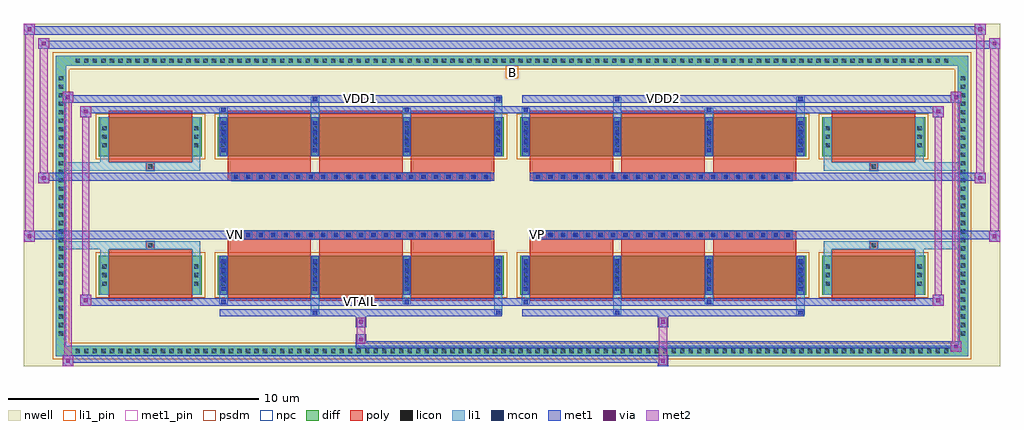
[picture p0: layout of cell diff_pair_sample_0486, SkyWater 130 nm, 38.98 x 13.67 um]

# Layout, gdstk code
import gdstk
lib = gdstk.Library(unit=1e-6, precision=5e-09)
def R(c, l, rs):  # rectangles x0, y0, x1, y1
    for r in rs: c.add(gdstk.rectangle(r[:2], r[2:], *l))
def A(c, l, x, y, w, h, nx, ny, dx, dy):  # array of equal rectangles
    R(c, l, [(x+i*dx, y+j*dy, x+i*dx+w, y+j*dy+h) for i in range(nx) for j in range(ny)])
def P(c, l, *ps):  # polygons
    for p in ps: c.add(gdstk.Polygon(p, *l))
nwell = (64, 20)
diff = (65, 20)
poly = (66, 20)
licon = (66, 44)
li1_pin = (67, 16)
li1 = (67, 20)
mcon = (67, 44)
met1_pin = (68, 16)
met1 = (68, 20)
via = (68, 44)
met2 = (69, 20)
psdm = (94, 20)
npc = (95, 20)

diff_pair_sample_0486 = lib.new_cell('diff_pair_sample_0486')
R(diff_pair_sample_0486, nwell, [(-19.49,-6.4,19.49,7.27), (-16.81,-4.59,-0.01,-0.795), (0.01,-4.59,16.81,-0.795), (-16.81,0.795,-0.01,4.59), (0.01,0.795,16.81,4.59)])
A(diff_pair_sample_0486, diff, -17.545, -6, 0.41, 0.41, 103, 2, 0.34, 11.59)
A(diff_pair_sample_0486, diff, -18.22, -5.305, 0.41, 0.41, 1, 31, 0, 0.34)
A(diff_pair_sample_0486, diff, 17.81, -5.305, 0.41, 0.41, 1, 31, 0, 0.34)
R(diff_pair_sample_0486, diff, [(-17.545,-6,17.545,-5.59), (-18.22,-5.305,-17.81,5.305), (17.81,-5.305,18.22,5.305), (-16.5,-3.545,-12.39,-1.985), (-11.75,-3.545,-0.32,-1.985), (0.32,-3.545,11.75,-1.985), (12.39,-3.545,16.5,-1.985), (-16.5,1.985,-12.39,3.545), (-11.75,1.985,-0.32,3.545), (0.32,1.985,11.75,3.545), (12.39,1.985,16.5,3.545), (-17.545,5.59,17.545,6)])
P(diff_pair_sample_0486, diff, [(18.22,6),(-18.22,6),(-18.22,-5.59),(-17.81,-5.59),(-17.81,5.59),(17.81,5.59),(17.81,-5.59),(-17.81,-5.59),(-18.22,-5.59),(-18.22,-6),(18.22,-6)])
A(diff_pair_sample_0486, poly, -11.36, -3.795, 3.33, 2.06, 3, 2, 3.66, 5.53)
A(diff_pair_sample_0486, poly, 0.71, -3.795, 3.33, 2.06, 3, 2, 3.66, 5.53)
A(diff_pair_sample_0486, poly, -11.36, -1.735, 3.33, 0.41, 3, 2, 3.66, 3.06)
A(diff_pair_sample_0486, poly, 0.71, -1.735, 3.33, 0.41, 3, 2, 3.66, 3.06)
A(diff_pair_sample_0486, poly, -11.2, -1.325, 0.33, 0.33, 21, 2, 0.5, 2.32)
A(diff_pair_sample_0486, poly, 0.87, -1.325, 0.33, 0.33, 21, 2, 0.5, 2.32)
R(diff_pair_sample_0486, poly, [(-16.11,-3.795,-12.78,-1.735), (12.78,-3.795,16.11,-1.735), (-14.61,-1.735,-14.28,-1.405), (-14.61,-1.735,-14.28,-1.405), (14.28,-1.735,14.61,-1.405), (14.28,-1.735,14.61,-1.405), (-11.36,-1.325,-0.71,-0.995), (0.71,-1.325,11.36,-0.995), (-11.36,0.995,-0.71,1.325), (0.71,0.995,11.36,1.325), (-14.61,1.405,-14.28,1.735), (-14.61,1.405,-14.28,1.735), (14.28,1.405,14.61,1.735), (14.28,1.405,14.61,1.735), (-16.11,1.735,-12.78,3.795), (12.78,1.735,16.11,3.795)])
A(diff_pair_sample_0486, licon, -17.425, -5.88, 0.17, 0.17, 103, 2, 0.34, 11.59)
A(diff_pair_sample_0486, licon, -18.1, -5.185, 0.17, 0.17, 1, 31, 0, 0.34)
A(diff_pair_sample_0486, licon, 17.93, -5.185, 0.17, 0.17, 1, 31, 0, 0.34)
A(diff_pair_sample_0486, licon, -16.36, -3.19, 0.17, 0.17, 1, 3, 0, 0.34)
A(diff_pair_sample_0486, licon, -12.7, -3.19, 0.17, 0.17, 1, 3, 0, 0.34)
A(diff_pair_sample_0486, licon, -11.61, -3.19, 0.17, 0.17, 4, 3, 3.66, 0.34)
A(diff_pair_sample_0486, licon, 0.46, -3.19, 0.17, 0.17, 4, 3, 3.66, 0.34)
A(diff_pair_sample_0486, licon, 12.53, -3.19, 0.17, 0.17, 1, 3, 0, 0.34)
A(diff_pair_sample_0486, licon, 16.19, -3.19, 0.17, 0.17, 1, 3, 0, 0.34)
A(diff_pair_sample_0486, licon, -11.12, -1.245, 0.17, 0.17, 21, 2, 0.5, 2.32)
A(diff_pair_sample_0486, licon, 0.95, -1.245, 0.17, 0.17, 21, 2, 0.5, 2.32)
A(diff_pair_sample_0486, licon, -16.36, 2.34, 0.17, 0.17, 1, 3, 0, 0.34)
A(diff_pair_sample_0486, licon, -12.7, 2.34, 0.17, 0.17, 1, 3, 0, 0.34)
A(diff_pair_sample_0486, licon, -11.61, 2.34, 0.17, 0.17, 4, 3, 3.66, 0.34)
A(diff_pair_sample_0486, licon, 0.46, 2.34, 0.17, 0.17, 4, 3, 3.66, 0.34)
A(diff_pair_sample_0486, licon, 12.53, 2.34, 0.17, 0.17, 1, 3, 0, 0.34)
A(diff_pair_sample_0486, licon, 16.19, 2.34, 0.17, 0.17, 1, 3, 0, 0.34)
R(diff_pair_sample_0486, licon, [(-14.53,-1.655,-14.36,-1.485), (14.36,-1.655,14.53,-1.485), (-14.53,1.485,-14.36,1.655), (14.36,1.485,14.53,1.655)])
R(diff_pair_sample_0486, li1_pin, [(-0.25,5.09,0.25,5.59)])
A(diff_pair_sample_0486, li1, -17.505, -5.96, 0.33, 0.33, 103, 2, 0.34, 11.59)
A(diff_pair_sample_0486, li1, -18.18, -5.265, 0.33, 0.33, 1, 31, 0, 0.34)
A(diff_pair_sample_0486, li1, 17.85, -5.265, 0.33, 0.33, 1, 31, 0, 0.34)
A(diff_pair_sample_0486, li1, -11.69, -3.545, 0.33, 1.56, 4, 2, 3.66, 5.53)
A(diff_pair_sample_0486, li1, 0.38, -3.545, 0.33, 1.56, 4, 2, 3.66, 5.53)
A(diff_pair_sample_0486, li1, -11.61, -3.39, 0.17, 0.17, 4, 4, 3.66, 0.36)
A(diff_pair_sample_0486, li1, -11.61, -3.39, 0.17, 1.25, 4, 2, 3.66, 5.53)
A(diff_pair_sample_0486, li1, 0.46, -3.39, 0.17, 0.17, 4, 4, 3.66, 0.36)
A(diff_pair_sample_0486, li1, 0.46, -3.39, 0.17, 1.25, 4, 2, 3.66, 5.53)
A(diff_pair_sample_0486, li1, -16.44, -3.27, 0.33, 0.33, 1, 3, 0, 0.34)
A(diff_pair_sample_0486, li1, -12.78, -3.27, 0.33, 0.33, 1, 3, 0, 0.34)
A(diff_pair_sample_0486, li1, -11.69, -3.27, 0.33, 0.33, 4, 3, 3.66, 0.34)
A(diff_pair_sample_0486, li1, 0.38, -3.27, 0.33, 0.33, 4, 3, 3.66, 0.34)
A(diff_pair_sample_0486, li1, 12.45, -3.27, 0.33, 0.33, 1, 3, 0, 0.34)
A(diff_pair_sample_0486, li1, 16.11, -3.27, 0.33, 0.33, 1, 3, 0, 0.34)
A(diff_pair_sample_0486, li1, -11.2, -1.325, 0.33, 0.33, 21, 2, 0.5, 2.32)
A(diff_pair_sample_0486, li1, 0.87, -1.325, 0.33, 0.33, 21, 2, 0.5, 2.32)
A(diff_pair_sample_0486, li1, -11.61, 2.14, 0.17, 0.17, 4, 4, 3.66, 0.36)
A(diff_pair_sample_0486, li1, 0.46, 2.14, 0.17, 0.17, 4, 4, 3.66, 0.36)
A(diff_pair_sample_0486, li1, -16.44, 2.26, 0.33, 0.33, 1, 3, 0, 0.34)
A(diff_pair_sample_0486, li1, -12.78, 2.26, 0.33, 0.33, 1, 3, 0, 0.34)
A(diff_pair_sample_0486, li1, -11.69, 2.26, 0.33, 0.33, 4, 3, 3.66, 0.34)
A(diff_pair_sample_0486, li1, 0.38, 2.26, 0.33, 0.33, 4, 3, 3.66, 0.34)
A(diff_pair_sample_0486, li1, 12.45, 2.26, 0.33, 0.33, 1, 3, 0, 0.34)
A(diff_pair_sample_0486, li1, 16.11, 2.26, 0.33, 0.33, 1, 3, 0, 0.34)
R(diff_pair_sample_0486, li1, [(-18.22,-6,-17.81,-5.59), (-18.22,-6,-17.81,-5.59), (-17.81,-6,17.81,-5.59), (17.81,-6,18.22,-5.59), (17.81,-6,18.22,-5.59), (-18.22,-5.59,-17.81,5.59), (17.81,-5.59,18.22,5.59), (-8.03,-4.35,-7.7,-3.545), (-7.95,-4.35,-7.78,-4.18), (-0.71,-4.35,-0.38,-3.545), (-0.63,-4.35,-0.46,-4.18), (4.04,-4.35,4.37,-3.545), (4.12,-4.35,4.29,-4.18), (11.36,-4.35,11.69,-3.545), (11.44,-4.35,11.61,-4.18), (-11.69,-3.92,-11.36,-3.545), (-11.61,-3.92,-11.44,-3.75), (-4.37,-3.92,-4.04,-3.545), (-4.29,-3.92,-4.12,-3.75), (0.38,-3.92,0.71,-3.545), (0.46,-3.92,0.63,-3.75), (7.7,-3.92,8.03,-3.545), (7.78,-3.92,7.95,-3.75), (-16.44,-3.545,-16.11,-1.985), (-12.78,-3.545,-12.45,-1.985), (12.45,-3.545,12.78,-1.985), (16.11,-3.545,16.44,-1.985), (-16.44,-1.985,-16.11,-1.405), (-12.78,-1.985,-12.45,-1.405), (12.45,-1.985,12.78,-1.405), (16.11,-1.985,16.44,-1.405), (-18.22,-1.735,-14.61,-1.405), (-16.44,-1.735,-14.61,-1.405), (-14.61,-1.735,-14.28,-1.405), (-14.28,-1.735,-12.45,-1.405), (12.45,-1.735,14.28,-1.405), (14.28,-1.735,14.61,-1.405), (14.28,-1.735,18.22,-1.405), (14.61,-1.735,16.44,-1.405), (-18.22,1.405,-14.61,1.735), (-16.44,1.405,-14.61,1.735), (-16.44,1.405,-16.11,1.985), (-14.61,1.405,-14.28,1.735), (-14.28,1.405,-12.45,1.735), (-12.78,1.405,-12.45,1.985), (12.45,1.405,14.28,1.735), (12.45,1.405,12.78,1.985), (14.28,1.405,14.61,1.735), (14.28,1.405,18.22,1.735), (14.61,1.405,16.44,1.735), (16.11,1.405,16.44,1.985), (-16.44,1.985,-16.11,3.545), (-12.78,1.985,-12.45,3.545), (12.45,1.985,12.78,3.545), (16.11,1.985,16.44,3.545), (-11.69,3.545,-11.36,3.92), (-8.03,3.545,-7.7,4.35), (-4.37,3.545,-4.04,3.92), (-0.71,3.545,-0.38,4.35), (0.38,3.545,0.71,3.92), (4.04,3.545,4.37,4.35), (7.7,3.545,8.03,3.92), (11.36,3.545,11.69,4.35), (-11.61,3.75,-11.44,3.92), (-4.29,3.75,-4.12,3.92), (0.46,3.75,0.63,3.92), (7.78,3.75,7.95,3.92), (-7.95,4.18,-7.78,4.35), (-0.63,4.18,-0.46,4.35), (4.12,4.18,4.29,4.35), (11.44,4.18,11.61,4.35), (-18.22,5.59,-17.81,6), (-18.22,5.59,-17.81,6), (-17.81,5.59,17.81,6), (17.81,5.59,18.22,6), (17.81,5.59,18.22,6)])
A(diff_pair_sample_0486, mcon, -11.61, -3.39, 0.17, 0.17, 4, 4, 3.66, 0.36)
A(diff_pair_sample_0486, mcon, 0.46, -3.39, 0.17, 0.17, 4, 4, 3.66, 0.36)
A(diff_pair_sample_0486, mcon, -11.12, -1.245, 0.17, 0.17, 21, 2, 0.5, 2.32)
A(diff_pair_sample_0486, mcon, 0.95, -1.245, 0.17, 0.17, 21, 2, 0.5, 2.32)
A(diff_pair_sample_0486, mcon, -11.61, 2.14, 0.17, 0.17, 4, 4, 3.66, 0.36)
A(diff_pair_sample_0486, mcon, 0.46, 2.14, 0.17, 0.17, 4, 4, 3.66, 0.36)
R(diff_pair_sample_0486, mcon, [(-7.95,-4.35,-7.78,-4.18), (-0.63,-4.35,-0.46,-4.18), (4.12,-4.35,4.29,-4.18), (11.44,-4.35,11.61,-4.18), (-11.61,-3.92,-11.44,-3.75), (-4.29,-3.92,-4.12,-3.75), (0.46,-3.92,0.63,-3.75), (7.78,-3.92,7.95,-3.75), (-11.61,3.75,-11.44,3.92), (-4.29,3.75,-4.12,3.92), (0.46,3.75,0.63,3.92), (7.78,3.75,7.95,3.92), (-7.95,4.18,-7.78,4.35), (-0.63,4.18,-0.46,4.35), (4.12,4.18,4.29,4.35), (11.44,4.18,11.61,4.35)])
R(diff_pair_sample_0486, met1_pin, [(-6.17,-3.96,-5.9,-3.69), (-11.17,-1.285,-10.9,-1.015), (0.9,-1.285,1.17,-1.015), (-6.17,4.14,-5.9,4.41), (5.9,4.14,6.17,4.41)])
A(diff_pair_sample_0486, met1, -11.67, -3.545, 0.29, 1.56, 4, 2, 3.66, 5.53)
A(diff_pair_sample_0486, met1, 0.4, -3.545, 0.29, 1.56, 4, 2, 3.66, 5.53)
A(diff_pair_sample_0486, met1, -11.67, -3.45, 0.29, 0.29, 4, 4, 3.66, 0.36)
A(diff_pair_sample_0486, met1, 0.4, -3.45, 0.29, 0.29, 4, 4, 3.66, 0.36)
A(diff_pair_sample_0486, met1, -11.18, -1.305, 0.29, 0.29, 21, 2, 0.5, 2.32)
A(diff_pair_sample_0486, met1, 0.89, -1.305, 0.29, 0.29, 21, 2, 0.5, 2.32)
A(diff_pair_sample_0486, met1, -11.67, 2.08, 0.29, 0.29, 4, 4, 3.66, 0.36)
A(diff_pair_sample_0486, met1, 0.4, 2.08, 0.29, 0.29, 4, 4, 3.66, 0.36)
R(diff_pair_sample_0486, met1, [(-17.95,-6.4,-17.52,-5.97), (5.82,-6.4,6.25,-5.97), (-17.95,-6.26,6.25,-5.97), (17.52,-5.83,17.95,-5.4), (-6.25,-5.69,17.95,-5.4), (-6.25,-5.55,-5.82,-5.12), (-6.25,-4.84,-5.82,-4.41), (5.82,-4.84,6.25,-4.41), (-11.67,-4.41,-0.4,-4.12), (-8.01,-4.41,-7.72,-4.12), (-0.69,-4.41,-0.4,-4.12), (0.4,-4.41,11.67,-4.12), (4.06,-4.41,4.35,-4.12), (11.38,-4.41,11.67,-4.12), (-17.24,-3.98,-16.81,-3.55), (-17.24,-3.98,-11.67,-3.69), (-11.67,-3.98,-11.38,-3.69), (-11.67,-3.98,-0.4,-3.69), (-4.35,-3.98,-4.06,-3.69), (-0.4,-3.98,0.4,-3.69), (0.4,-3.98,0.69,-3.69), (0.4,-3.98,11.67,-3.69), (7.72,-3.98,8.01,-3.69), (11.67,-3.98,17.24,-3.69), (16.81,-3.98,17.24,-3.55), (-19.49,-1.425,-19.06,-0.995), (19.06,-1.425,19.49,-0.995), (-19.49,-1.325,-0.71,-0.995), (-11.36,-1.325,-0.71,-0.995), (0.71,-1.325,11.36,-0.995), (0.71,-1.325,19.49,-0.995), (-18.92,0.895,-18.49,1.325), (18.49,0.895,18.92,1.325), (-18.92,0.995,-11.36,1.325), (-11.36,0.995,-0.71,1.325), (0.71,0.995,11.36,1.325), (11.36,0.995,18.92,1.325), (-17.24,3.55,-16.81,3.98), (16.81,3.55,17.24,3.98), (-17.24,3.69,-11.67,3.98), (-11.67,3.69,-11.38,3.98), (-11.67,3.69,-0.4,3.98), (-4.35,3.69,-4.06,3.98), (-0.4,3.69,0.4,3.98), (0.4,3.69,0.69,3.98), (0.4,3.69,11.67,3.98), (7.72,3.69,8.01,3.98), (11.67,3.69,17.24,3.98), (-17.95,4.12,-17.52,4.55), (-17.95,4.12,-11.67,4.41), (-11.67,4.12,-0.4,4.41), (-8.01,4.12,-7.72,4.41), (-0.69,4.12,-0.4,4.41), (0.4,4.12,11.67,4.41), (4.06,4.12,4.35,4.41), (11.38,4.12,11.67,4.41), (11.67,4.12,17.95,4.41), (17.52,4.12,17.95,4.55), (-18.92,6.27,-18.49,6.7), (-18.92,6.27,-16.81,6.6), (-16.81,6.27,16.81,6.6), (16.81,6.27,19.49,6.6), (19.06,6.27,19.49,6.7), (-19.49,6.84,-19.06,7.27), (-19.49,6.84,-16.81,7.17), (-16.81,6.84,16.81,7.17), (16.81,6.84,18.92,7.17), (18.49,6.84,18.92,7.27)])
R(diff_pair_sample_0486, via, [(-17.81,-6.26,-17.66,-6.11), (5.96,-6.26,6.11,-6.11), (17.66,-5.69,17.81,-5.54), (-6.11,-5.41,-5.96,-5.26), (-6.11,-4.7,-5.96,-4.55), (5.96,-4.7,6.11,-4.55), (-17.1,-3.84,-16.95,-3.69), (16.95,-3.84,17.1,-3.69), (-19.35,-1.285,-19.2,-1.135), (19.2,-1.285,19.35,-1.135), (-18.78,1.035,-18.63,1.185), (18.63,1.035,18.78,1.185), (-17.1,3.69,-16.95,3.84), (16.95,3.69,17.1,3.84), (-17.81,4.26,-17.66,4.41), (17.66,4.26,17.81,4.41), (-18.78,6.41,-18.63,6.56), (19.2,6.41,19.35,6.56), (-19.35,6.98,-19.2,7.13), (18.63,6.98,18.78,7.13)])
R(diff_pair_sample_0486, met2, [(-17.95,-6.4,-17.52,-5.97), (-17.88,-6.4,-17.59,4.55), (-17.59,-6.4,-17.52,-5.97), (-17.9,-6.35,-17.57,-6.02), (5.87,-6.35,6.2,-6.02), (5.87,-6.02,6.2,-4.79), (17.52,-5.83,17.95,-5.4), (17.59,-5.83,17.88,4.55), (17.88,-5.83,17.95,-5.4), (17.57,-5.78,17.9,-5.45), (-6.2,-5.5,-5.87,-5.17), (-6.2,-5.17,-5.87,-4.79), (-6.2,-4.79,-5.87,-4.46), (5.87,-4.79,6.2,-4.46), (-17.24,-3.98,-16.81,-3.55), (-17.17,-3.98,-16.88,3.98), (-16.88,-3.98,-16.81,-3.55), (16.81,-3.98,17.24,-3.55), (16.88,-3.98,17.17,3.98), (17.17,-3.98,17.24,-3.55), (-17.19,-3.93,-16.86,-3.6), (16.86,-3.93,17.19,-3.6), (-19.49,-1.425,-19.06,-0.995), (-19.44,-1.425,-19.11,7.27), (-19.11,-1.425,-19.06,-0.995), (19.06,-1.425,19.49,-0.995), (19.11,-1.425,19.44,6.7), (19.44,-1.425,19.49,-0.995), (-19.44,-1.375,-19.11,-1.045), (19.11,-1.375,19.44,-1.045), (-18.92,0.895,-18.49,1.325), (-18.87,0.895,-18.54,6.7), (-18.54,0.895,-18.49,1.325), (18.49,0.895,18.92,1.325), (18.54,0.895,18.87,7.27), (18.87,0.895,18.92,1.325), (-18.87,0.945,-18.54,1.275), (18.54,0.945,18.87,1.275), (-17.24,3.55,-16.81,3.98), (-16.88,3.55,-16.81,3.98), (16.81,3.55,17.24,3.98), (17.17,3.55,17.24,3.98), (-17.19,3.6,-16.86,3.93), (16.86,3.6,17.19,3.93), (-17.95,4.12,-17.52,4.55), (-17.59,4.12,-17.52,4.55), (17.52,4.12,17.95,4.55), (17.88,4.12,17.95,4.55), (-17.9,4.17,-17.57,4.5), (17.57,4.17,17.9,4.5), (-18.92,6.27,-18.49,6.7), (-18.54,6.27,-18.49,6.7), (19.06,6.27,19.49,6.7), (19.44,6.27,19.49,6.7), (-18.87,6.32,-18.54,6.65), (19.11,6.32,19.44,6.65), (-19.49,6.84,-19.06,7.27), (-19.11,6.84,-19.06,7.27), (18.49,6.84,18.92,7.27), (18.87,6.84,18.92,7.27), (-19.44,6.89,-19.11,7.22), (18.54,6.89,18.87,7.22)])
R(diff_pair_sample_0486, psdm, [(-16.63,-3.675,-12.26,-1.855), (-11.88,-3.675,-0.19,-1.855), (0.19,-3.675,11.88,-1.855), (12.26,-3.675,16.63,-1.855), (-16.63,1.855,-12.26,3.675), (-11.88,1.855,-0.19,3.675), (0.19,1.855,11.88,3.675), (12.26,1.855,16.63,3.675)])
P(diff_pair_sample_0486, psdm, [(18.35,6.13),(-18.35,6.13),(-18.35,-5.46),(-17.68,-5.46),(-17.68,5.46),(17.68,5.46),(17.68,-5.46),(-17.68,-5.46),(-18.35,-5.46),(-18.35,-6.13),(18.35,-6.13)])
A(diff_pair_sample_0486, npc, -11.22, -1.345, 0.37, 0.37, 21, 2, 0.5, 2.32)
A(diff_pair_sample_0486, npc, 0.85, -1.345, 0.37, 0.37, 21, 2, 0.5, 2.32)
R(diff_pair_sample_0486, npc, [(-14.63,-1.755,-14.26,-1.385), (14.26,-1.755,14.63,-1.385), (-11.22,-1.345,-10.35,-0.975), (-11.22,-1.345,-10.35,-0.975), (-10.72,-1.345,-9.85,-0.975), (-10.72,-1.345,-9.85,-0.975), (-10.22,-1.345,-9.35,-0.975), (-10.22,-1.345,-9.35,-0.975), (-9.72,-1.345,-8.85,-0.975), (-9.72,-1.345,-8.85,-0.975), (-9.22,-1.345,-8.35,-0.975), (-9.22,-1.345,-8.35,-0.975), (-8.72,-1.345,-7.85,-0.975), (-8.72,-1.345,-7.85,-0.975), (-8.22,-1.345,-7.35,-0.975), (-8.22,-1.345,-7.35,-0.975), (-7.72,-1.345,-6.85,-0.975), (-7.72,-1.345,-6.85,-0.975), (-7.22,-1.345,-6.35,-0.975), (-7.22,-1.345,-6.35,-0.975), (-6.72,-1.345,-5.85,-0.975), (-6.72,-1.345,-5.85,-0.975), (-6.22,-1.345,-5.35,-0.975), (-6.22,-1.345,-5.35,-0.975), (-5.72,-1.345,-4.85,-0.975), (-5.72,-1.345,-4.85,-0.975), (-5.22,-1.345,-4.35,-0.975), (-5.22,-1.345,-4.35,-0.975), (-4.72,-1.345,-3.85,-0.975), (-4.72,-1.345,-3.85,-0.975), (-4.22,-1.345,-3.35,-0.975), (-4.22,-1.345,-3.35,-0.975), (-3.72,-1.345,-2.85,-0.975), (-3.72,-1.345,-2.85,-0.975), (-3.22,-1.345,-2.35,-0.975), (-3.22,-1.345,-2.35,-0.975), (-2.72,-1.345,-1.85,-0.975), (-2.72,-1.345,-1.85,-0.975), (-2.22,-1.345,-1.35,-0.975), (-2.22,-1.345,-1.35,-0.975), (-1.72,-1.345,-0.85,-0.975), (-1.72,-1.345,-0.85,-0.975), (0.85,-1.345,1.72,-0.975), (0.85,-1.345,1.72,-0.975), (1.35,-1.345,2.22,-0.975), (1.35,-1.345,2.22,-0.975), (1.85,-1.345,2.72,-0.975), (1.85,-1.345,2.72,-0.975), (2.35,-1.345,3.22,-0.975), (2.35,-1.345,3.22,-0.975), (2.85,-1.345,3.72,-0.975), (2.85,-1.345,3.72,-0.975), (3.35,-1.345,4.22,-0.975), (3.35,-1.345,4.22,-0.975), (3.85,-1.345,4.72,-0.975), (3.85,-1.345,4.72,-0.975), (4.35,-1.345,5.22,-0.975), (4.35,-1.345,5.22,-0.975), (4.85,-1.345,5.72,-0.975), (4.85,-1.345,5.72,-0.975), (5.35,-1.345,6.22,-0.975), (5.35,-1.345,6.22,-0.975), (5.85,-1.345,6.72,-0.975), (5.85,-1.345,6.72,-0.975), (6.35,-1.345,7.22,-0.975), (6.35,-1.345,7.22,-0.975), (6.85,-1.345,7.72,-0.975), (6.85,-1.345,7.72,-0.975), (7.35,-1.345,8.22,-0.975), (7.35,-1.345,8.22,-0.975), (7.85,-1.345,8.72,-0.975), (7.85,-1.345,8.72,-0.975), (8.35,-1.345,9.22,-0.975), (8.35,-1.345,9.22,-0.975), (8.85,-1.345,9.72,-0.975), (8.85,-1.345,9.72,-0.975), (9.35,-1.345,10.22,-0.975), (9.35,-1.345,10.22,-0.975), (9.85,-1.345,10.72,-0.975), (9.85,-1.345,10.72,-0.975), (10.35,-1.345,11.22,-0.975), (10.35,-1.345,11.22,-0.975), (-11.22,0.975,-10.35,1.345), (-11.22,0.975,-10.35,1.345), (-10.72,0.975,-9.85,1.345), (-10.72,0.975,-9.85,1.345), (-10.22,0.975,-9.35,1.345), (-10.22,0.975,-9.35,1.345), (-9.72,0.975,-8.85,1.345), (-9.72,0.975,-8.85,1.345), (-9.22,0.975,-8.35,1.345), (-9.22,0.975,-8.35,1.345), (-8.72,0.975,-7.85,1.345), (-8.72,0.975,-7.85,1.345), (-8.22,0.975,-7.35,1.345), (-8.22,0.975,-7.35,1.345), (-7.72,0.975,-6.85,1.345), (-7.72,0.975,-6.85,1.345), (-7.22,0.975,-6.35,1.345), (-7.22,0.975,-6.35,1.345), (-6.72,0.975,-5.85,1.345), (-6.72,0.975,-5.85,1.345), (-6.22,0.975,-5.35,1.345), (-6.22,0.975,-5.35,1.345), (-5.72,0.975,-4.85,1.345), (-5.72,0.975,-4.85,1.345), (-5.22,0.975,-4.35,1.345), (-5.22,0.975,-4.35,1.345), (-4.72,0.975,-3.85,1.345), (-4.72,0.975,-3.85,1.345), (-4.22,0.975,-3.35,1.345), (-4.22,0.975,-3.35,1.345), (-3.72,0.975,-2.85,1.345), (-3.72,0.975,-2.85,1.345), (-3.22,0.975,-2.35,1.345), (-3.22,0.975,-2.35,1.345), (-2.72,0.975,-1.85,1.345), (-2.72,0.975,-1.85,1.345), (-2.22,0.975,-1.35,1.345), (-2.22,0.975,-1.35,1.345), (-1.72,0.975,-0.85,1.345), (-1.72,0.975,-0.85,1.345), (0.85,0.975,1.72,1.345), (0.85,0.975,1.72,1.345), (1.35,0.975,2.22,1.345), (1.35,0.975,2.22,1.345), (1.85,0.975,2.72,1.345), (1.85,0.975,2.72,1.345), (2.35,0.975,3.22,1.345), (2.35,0.975,3.22,1.345), (2.85,0.975,3.72,1.345), (2.85,0.975,3.72,1.345), (3.35,0.975,4.22,1.345), (3.35,0.975,4.22,1.345), (3.85,0.975,4.72,1.345), (3.85,0.975,4.72,1.345), (4.35,0.975,5.22,1.345), (4.35,0.975,5.22,1.345), (4.85,0.975,5.72,1.345), (4.85,0.975,5.72,1.345), (5.35,0.975,6.22,1.345), (5.35,0.975,6.22,1.345), (5.85,0.975,6.72,1.345), (5.85,0.975,6.72,1.345), (6.35,0.975,7.22,1.345), (6.35,0.975,7.22,1.345), (6.85,0.975,7.72,1.345), (6.85,0.975,7.72,1.345), (7.35,0.975,8.22,1.345), (7.35,0.975,8.22,1.345), (7.85,0.975,8.72,1.345), (7.85,0.975,8.72,1.345), (8.35,0.975,9.22,1.345), (8.35,0.975,9.22,1.345), (8.85,0.975,9.72,1.345), (8.85,0.975,9.72,1.345), (9.35,0.975,10.22,1.345), (9.35,0.975,10.22,1.345), (9.85,0.975,10.72,1.345), (9.85,0.975,10.72,1.345), (10.35,0.975,11.22,1.345), (10.35,0.975,11.22,1.345), (-14.63,1.385,-14.26,1.755), (14.26,1.385,14.63,1.755)])
diff_pair_sample_0486.add(gdstk.Label('VTAIL', (-6.035,-3.825), layer=68, texttype=5))
diff_pair_sample_0486.add(gdstk.Label('VN', (-11.035,-1.15), layer=68, texttype=5))
diff_pair_sample_0486.add(gdstk.Label('VP', (1.035,-1.15), layer=68, texttype=5))
diff_pair_sample_0486.add(gdstk.Label('B', (0,5.34), layer=67, texttype=5))
diff_pair_sample_0486.add(gdstk.Label('VDD2', (6.035,4.275), layer=68, texttype=5))
diff_pair_sample_0486.add(gdstk.Label('VDD1', (-6.035,4.275), layer=68, texttype=5))

lib.write_gds('diff_pair_sample_0486.gds')
